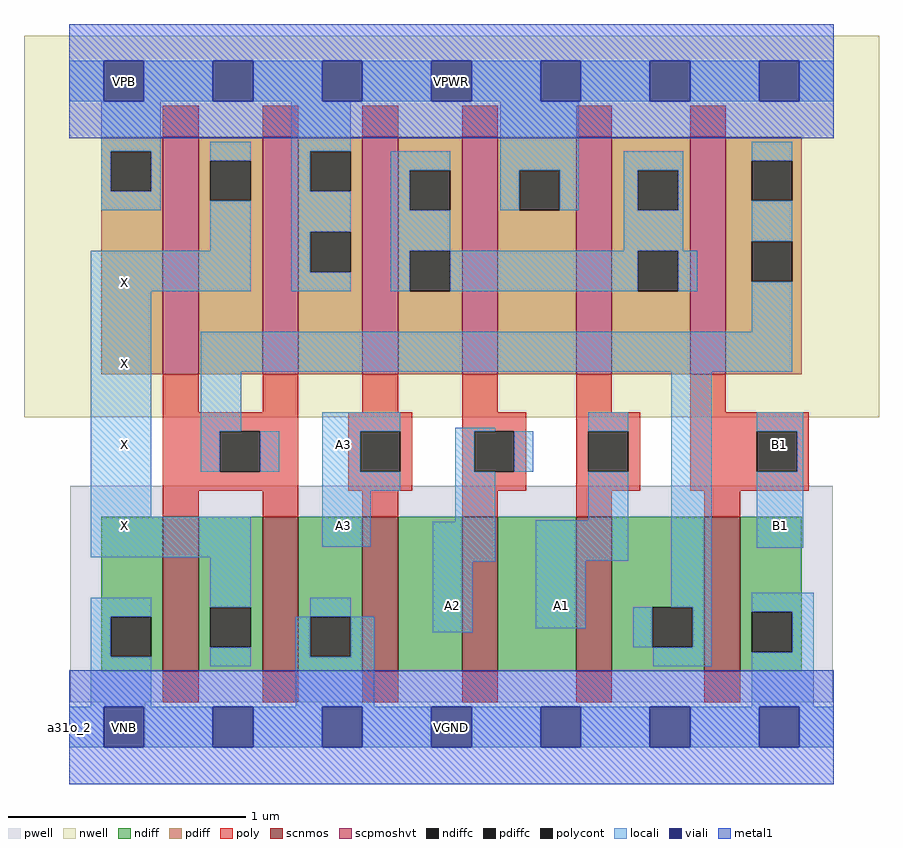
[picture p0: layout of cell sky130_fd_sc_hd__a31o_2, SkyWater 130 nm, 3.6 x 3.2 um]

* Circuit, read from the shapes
.subckt sky130_fd_sc_hd__a31o_2 A1 A2 A3 B1 VGND VNB VPB VPWR X
XM1 X n1 VGND VNB sky130_fd_pr__nfet_01v8 w=0.65 l=0.15 m=2
XM2 n2 A3 VGND VNB sky130_fd_pr__nfet_01v8 w=0.65 l=0.15
XM3 n3 A2 n2 VNB sky130_fd_pr__nfet_01v8 w=0.65 l=0.15
XM4 n1 A1 n3 VNB sky130_fd_pr__nfet_01v8 w=0.65 l=0.15
XM5 VGND B1 n1 VNB sky130_fd_pr__nfet_01v8 w=0.65 l=0.15
XM6 X n1 VPWR VPB sky130_fd_pr__pfet_01v8_hvt w=1 l=0.15 m=2
XM7 n4 A3 VPWR VPB sky130_fd_pr__pfet_01v8_hvt w=1 l=0.15
XM8 VPWR A2 n4 VPB sky130_fd_pr__pfet_01v8_hvt w=1 l=0.15
XM9 n4 A1 VPWR VPB sky130_fd_pr__pfet_01v8_hvt w=1 l=0.15
XM10 n1 B1 n4 VPB sky130_fd_pr__pfet_01v8_hvt w=1 l=0.15
.ends

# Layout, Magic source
magic
tech sky130B
magscale 1 2
<< nwell >>
rect -38 261 682 582
<< pwell >>
rect 1 21 643 203
rect 30 -17 64 21
<< scnmos >>
rect 79 47 109 177
rect 163 47 193 177
rect 247 47 277 177
rect 331 47 361 177
rect 427 47 457 177
rect 535 47 565 177
<< scpmoshvt >>
rect 79 297 109 497
rect 163 297 193 497
rect 247 297 277 497
rect 331 297 361 497
rect 427 297 457 497
rect 523 297 553 497
<< ndiff >>
rect 27 93 79 177
rect 27 59 35 93
rect 69 59 79 93
rect 27 47 79 59
rect 109 101 163 177
rect 109 67 119 101
rect 153 67 163 101
rect 109 47 163 67
rect 193 93 247 177
rect 193 59 203 93
rect 237 59 247 93
rect 193 47 247 59
rect 277 47 331 177
rect 361 47 427 177
rect 457 101 535 177
rect 457 67 491 101
rect 525 67 535 101
rect 457 47 535 67
rect 565 97 617 177
rect 565 63 575 97
rect 609 63 617 97
rect 565 47 617 63
<< pdiff >>
rect 27 485 79 497
rect 27 451 35 485
rect 69 451 79 485
rect 27 297 79 451
rect 109 477 163 497
rect 109 443 119 477
rect 153 443 163 477
rect 109 297 163 443
rect 193 485 247 497
rect 193 451 203 485
rect 237 451 247 485
rect 193 417 247 451
rect 193 383 203 417
rect 237 383 247 417
rect 193 297 247 383
rect 277 469 331 497
rect 277 435 287 469
rect 321 435 331 469
rect 277 401 331 435
rect 277 367 287 401
rect 321 367 331 401
rect 277 297 331 367
rect 361 469 427 497
rect 361 435 379 469
rect 413 435 427 469
rect 361 297 427 435
rect 457 469 523 497
rect 457 435 479 469
rect 513 435 523 469
rect 457 401 523 435
rect 457 367 479 401
rect 513 367 523 401
rect 457 297 523 367
rect 553 477 617 497
rect 553 443 575 477
rect 609 443 617 477
rect 553 409 617 443
rect 553 375 575 409
rect 609 375 617 409
rect 553 297 617 375
<< ndiffc >>
rect 35 59 69 93
rect 119 67 153 101
rect 203 59 237 93
rect 491 67 525 101
rect 575 63 609 97
<< pdiffc >>
rect 35 451 69 485
rect 119 443 153 477
rect 203 451 237 485
rect 203 383 237 417
rect 287 435 321 469
rect 287 367 321 401
rect 379 435 413 469
rect 479 435 513 469
rect 479 367 513 401
rect 575 443 609 477
rect 575 375 609 409
<< poly >>
rect 79 497 109 523
rect 163 497 193 523
rect 247 497 277 523
rect 331 497 361 523
rect 427 497 457 523
rect 523 497 553 523
rect 79 265 109 297
rect 163 265 193 297
rect 247 265 277 297
rect 331 265 361 297
rect 427 265 457 297
rect 523 265 553 297
rect 79 249 193 265
rect 79 215 127 249
rect 161 215 193 249
rect 79 199 193 215
rect 235 249 289 265
rect 235 215 245 249
rect 279 215 289 249
rect 235 199 289 215
rect 331 249 385 265
rect 331 215 341 249
rect 375 215 385 249
rect 331 199 385 215
rect 427 249 481 265
rect 427 215 437 249
rect 471 215 481 249
rect 427 199 481 215
rect 523 249 623 265
rect 523 215 579 249
rect 613 215 623 249
rect 523 199 623 215
rect 79 177 109 199
rect 163 177 193 199
rect 247 177 277 199
rect 331 177 361 199
rect 427 177 457 199
rect 535 177 565 199
rect 79 21 109 47
rect 163 21 193 47
rect 247 21 277 47
rect 331 21 361 47
rect 427 21 457 47
rect 535 21 565 47
<< polycont >>
rect 127 215 161 249
rect 245 215 279 249
rect 341 215 375 249
rect 437 215 471 249
rect 579 215 613 249
<< locali >>
rect 0 527 29 561
rect 63 527 121 561
rect 155 527 213 561
rect 247 527 305 561
rect 339 527 397 561
rect 431 527 489 561
rect 523 527 581 561
rect 615 527 644 561
rect 27 485 77 527
rect 27 451 35 485
rect 69 451 77 485
rect 27 435 77 451
rect 119 477 153 493
rect 119 401 153 443
rect 18 367 153 401
rect 187 485 237 527
rect 187 451 203 485
rect 187 417 237 451
rect 187 383 203 417
rect 187 367 237 383
rect 271 469 321 485
rect 271 435 287 469
rect 363 469 429 527
rect 363 435 379 469
rect 413 435 429 469
rect 467 469 517 485
rect 467 435 479 469
rect 513 435 517 469
rect 271 401 321 435
rect 467 401 517 435
rect 575 477 609 493
rect 575 409 609 443
rect 271 367 287 401
rect 321 367 479 401
rect 513 367 529 401
rect 18 177 69 367
rect 575 333 609 375
rect 111 299 609 333
rect 111 249 145 299
rect 213 249 279 265
rect 111 215 127 249
rect 161 215 177 249
rect 213 215 245 249
rect 213 199 279 215
rect 325 249 359 252
rect 437 249 471 265
rect 325 215 341 249
rect 375 215 391 249
rect 18 143 153 177
rect 213 152 254 199
rect 325 173 359 215
rect 437 174 471 215
rect 18 93 69 109
rect 18 59 35 93
rect 18 17 69 59
rect 119 101 153 143
rect 306 139 359 173
rect 393 140 471 174
rect 203 93 237 109
rect 119 51 153 67
rect 191 59 203 93
rect 237 59 257 93
rect 306 80 340 139
rect 393 83 435 140
rect 507 101 541 299
rect 579 249 618 265
rect 613 215 618 249
rect 579 151 618 215
rect 475 67 491 101
rect 525 67 541 101
rect 191 17 257 59
rect 492 51 541 67
rect 575 97 627 113
rect 609 63 627 97
rect 575 17 627 63
rect 0 -17 29 17
rect 63 -17 121 17
rect 155 -17 213 17
rect 247 -17 305 17
rect 339 -17 397 17
rect 431 -17 489 17
rect 523 -17 581 17
rect 615 -17 644 17
<< viali >>
rect 29 527 63 561
rect 121 527 155 561
rect 213 527 247 561
rect 305 527 339 561
rect 397 527 431 561
rect 489 527 523 561
rect 581 527 615 561
rect 29 -17 63 17
rect 121 -17 155 17
rect 213 -17 247 17
rect 305 -17 339 17
rect 397 -17 431 17
rect 489 -17 523 17
rect 581 -17 615 17
<< metal1 >>
rect 0 561 644 592
rect 0 527 29 561
rect 63 527 121 561
rect 155 527 213 561
rect 247 527 305 561
rect 339 527 397 561
rect 431 527 489 561
rect 523 527 581 561
rect 615 527 644 561
rect 0 496 644 527
rect 0 17 644 48
rect 0 -17 29 17
rect 63 -17 121 17
rect 155 -17 213 17
rect 247 -17 305 17
rect 339 -17 397 17
rect 431 -17 489 17
rect 523 -17 581 17
rect 615 -17 644 17
rect 0 -48 644 -17
<< labels >>
flabel locali s 30 153 64 187 0 FreeSans 200 0 0 0 X
port 9 nsew signal output
flabel locali s 581 221 615 255 0 FreeSans 200 0 0 0 B1
port 4 nsew signal input
flabel locali s 30 221 64 255 0 FreeSans 200 0 0 0 X
port 9 nsew signal output
flabel locali s 30 289 64 323 0 FreeSans 200 0 0 0 X
port 9 nsew signal output
flabel locali s 30 357 64 391 0 FreeSans 200 0 0 0 X
port 9 nsew signal output
flabel locali s 214 153 248 187 0 FreeSans 200 0 0 0 A3
port 3 nsew signal input
flabel locali s 398 85 432 119 0 FreeSans 200 0 0 0 A1
port 1 nsew signal input
flabel locali s 582 153 616 187 0 FreeSans 200 0 0 0 B1
port 4 nsew signal input
flabel locali s 214 221 248 255 0 FreeSans 200 0 0 0 A3
port 3 nsew signal input
flabel locali s 306 85 340 119 0 FreeSans 200 0 0 0 A2
port 2 nsew signal input
flabel pwell s 30 -17 64 17 0 FreeSans 200 0 0 0 VNB
port 6 nsew ground bidirectional
flabel nwell s 30 527 64 561 0 FreeSans 200 0 0 0 VPB
port 7 nsew power bidirectional
flabel metal1 s 30 -17 64 17 0 FreeSans 200 0 0 0 VGND
port 5 nsew ground bidirectional abutment
flabel metal1 s 30 527 64 561 0 FreeSans 200 0 0 0 VPWR
port 8 nsew power bidirectional abutment
rlabel comment s 0 0 0 0 4 a31o_2
rlabel metal1 s 0 -48 644 48 1 VGND
port 5 nsew ground bidirectional abutment
rlabel metal1 s 0 496 644 592 1 VPWR
port 8 nsew power bidirectional abutment
<< properties >>
string FIXED_BBOX 0 0 644 544
string GDS_END 4112146
string GDS_FILE $PDKPATH/libs.ref/sky130_fd_sc_hd/gds/sky130_fd_sc_hd.gds
string GDS_START 4105658
string LEFclass CORE
string LEFsite unithd
string LEFsymmetry X Y R90
string path 0.000 0.000 16.100 0.000 
<< end >>
